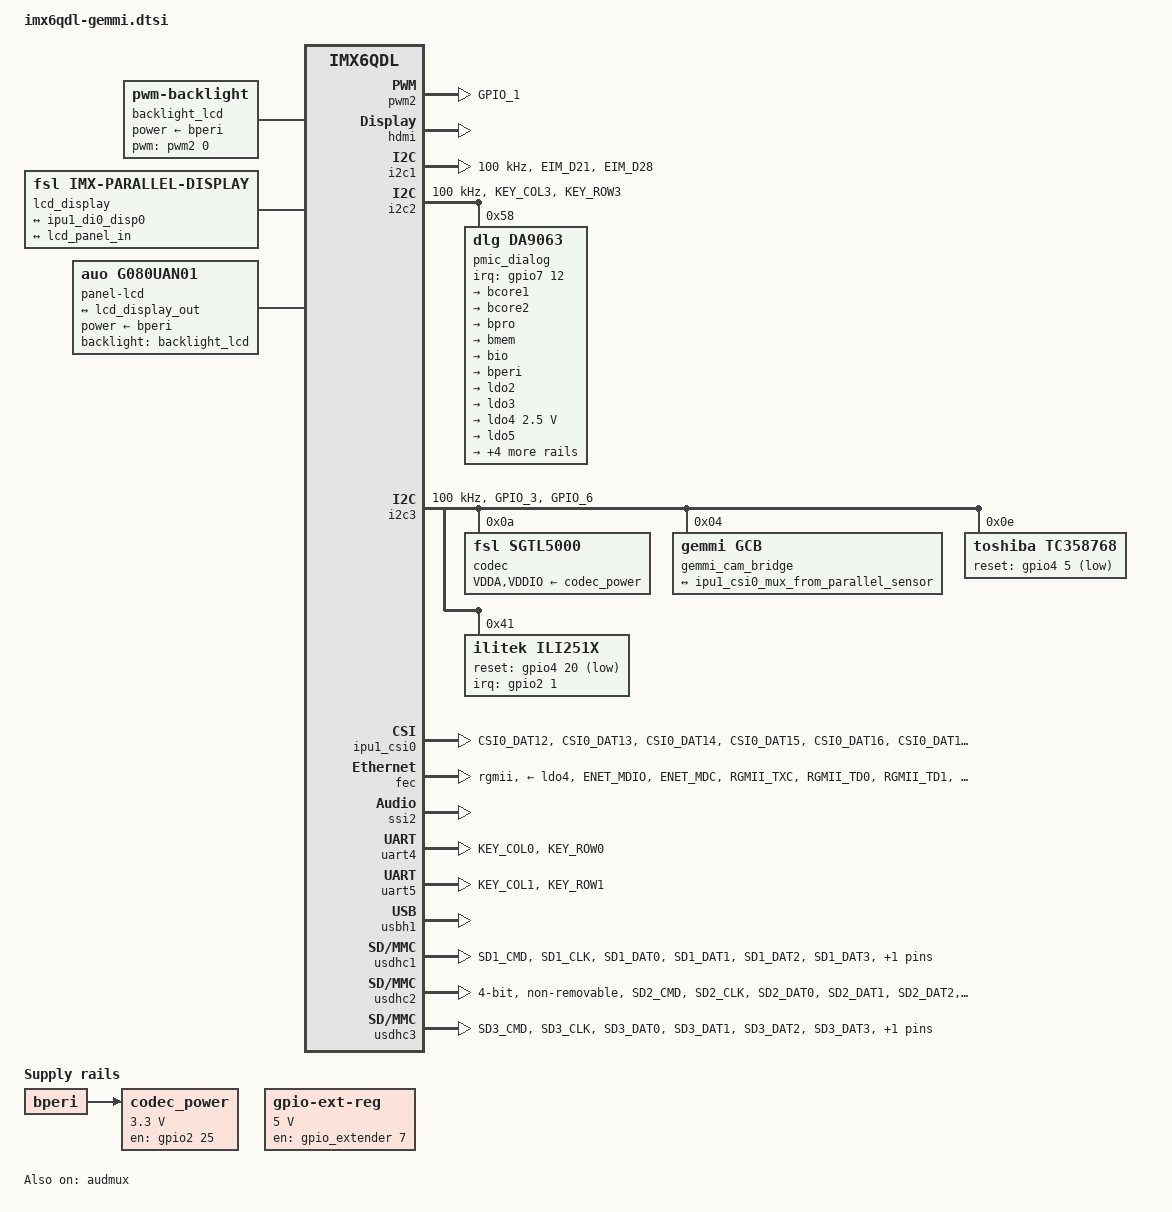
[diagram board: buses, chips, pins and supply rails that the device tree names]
// SPDX-License-Identifier: GPL-2.0
//
// Copyright 2013 Freescale Semiconductor, Inc.
//
// Author: Fabio Estevam <fabio.estevam@freescale.com>

#include <dt-bindings/gpio/gpio.h>

/ {
	5v_reg {
		compatible = "regulator-fixed";
		gpio = <&gpio_extender 7 0>;
		regulator-name = "gpio-ext-reg";
		regulator-always-on;
		enable-active-high;
		regulator-min-microvolt = <5000000>;
		regulator-max-microvolt = <5000000>;
	};
	/* SGTL5000 codec is powered by 3V3 BUCK_PERI, but controlled
	 * by GPIO2_25 via a FET transistor
	 */
	codec_power: fixedregulator@0 {
		compatible = "regulator-fixed";
		regulator-name = "aud_pwr_en";
		regulator-min-microvolt = <3300000>;
		regulator-max-microvolt = <3300000>;
		gpio = <&gpio2 25 GPIO_ACTIVE_HIGH>;
		enable-active-high;
		vin-supply = <&bperi>;
		pinctrl-names = "default";
		pinctrl-0 = <&pinctrl_aud_pwr_en>;
		status = "okay";
		regulator-state-mem {
			regulator-off-in-suspend;
		};
		regulator-state-disk {
			regulator-off-in-suspend;
		};
	};

	chosen {
		stdout-path = &uart4;
	};

	sound {
		compatible = "fsl,imx-audio-sgtl5000";
		model = "sgtl5000-audio";
		ssi-controller = <&ssi2>;
		audio-codec = <&codec>;
		audio-routing =
			"MIC_IN", "Mic Jack",
			"Mic Jack", "Mic Bias",
			"Headphone Jack", "HP_OUT";
		mux-int-port = <1>;
		mux-ext-port = <3>;
	};

	backlight_lcd: backlight-lcd {
		compatible = "pwm-backlight";
		pwms = <&pwm2 0 100000>;
                power-supply = <&bperi>;
		brightness-levels = <0 4 8 16 32 64 128 255>;
		default-brightness-level = <6>;
		status = "okay";
	};


	lcd_display: disp0 {
		compatible = "fsl,imx-parallel-display";
		#address-cells = <1>;
		#size-cells = <0>;
		interface-pix-fmt = "rgb24";
		pinctrl-names = "default";
		pinctrl-0 = <&pinctrl_lcd>;
		status = "okay";

		port@0 {
			reg = <0>;

			lcd_display_in: endpoint {
				remote-endpoint = <&ipu1_di0_disp0>;
			};
		};

		port@1 {
			reg = <1>;

			lcd_display_out: endpoint {
				remote-endpoint = <&lcd_panel_in>;
			};
		};
	};

	panel-lcd {
                compatible = "auo,g080uan01", "simple-panel";
                power-supply = <&bperi>;
                backlight = <&backlight_lcd>;
		status = "okay";

		port {
			lcd_panel_in: endpoint {
				remote-endpoint = <&lcd_display_out>;
			};
		};
	};

};



&audmux {
	pinctrl-names = "default";
	pinctrl-0 = <&pinctrl_audmux>;
	status = "okay";
};


&pwm2 {
        pinctrl-names = "default";
        pinctrl-0 = <&pinctrl_pwm2>;
        status = "okay";
};


&hdmi {
	ddc-i2c-bus = <&i2c3>;
	status = "okay";
};

&i2c1 {
	clock-frequency = <100000>;
	pinctrl-names = "default";
	pinctrl-0 = <&pinctrl_i2c1>;
	status = "okay";
};

&i2c2 {
	clock-frequency = <100000>;
	pinctrl-names = "default";
	pinctrl-0 = <&pinctrl_i2c2>;
	status = "okay";

	pmic_dialog: dialog@58 {
		compatible = "dlg,da9063";
		reg = <0x58>;
		interrupt-parent = <&gpio7>;
		interrupts = <12 2>;
		interrupt-controller;
		#interrupt-cells = <2>;
		pinctrl-names = "default";
		pinctrl-0 = <&pinctrl_pmic_dialog>;

		rtc {
			compatible = "dlg,da9063-rtc";
		};

		onkey {
			compatible = "dlg,da9063-onkey";
			dlg,key-power;
		};

		hwmon {
			compatible = "dlg,da9063-hwmon";
			dlg,tjunc-offset = <(-5)>;
		};

		gpio_extender: gpio {
			compatible = "dlg,da9063-gpio";
			gpio-controller;
			#gpio-cells = <2>;
		};

		regulators {
			compatible = "dlg,da9063-regulator";

			bcore1: bcore1 {
				regulator-name = "DA9063_BCORE1";
				regulator-boot-on;
				regulator-always-on;
			};

			bcore2: bcore2 {
				regulator-name = "DA9063_BCORE2";
				regulator-boot-on;
				regulator-always-on;
			};

			bpro: bpro {
				regulator-name = "DA9063_BPRO";
				regulator-boot-on;
				regulator-state-mem {
					regulator-off-in-suspend;
				};
				regulator-state-disk {
					regulator-off-in-suspend;
				};
			};

			bmem: bmem {
				regulator-name = "DA9063_BMEM";
				regulator-boot-on;
				regulator-always-on;
			};

			bio: bio {
				regulator-name = "DA9063_BIO";
				regulator-boot-on;
			};

			bperi: bperi {
				regulator-name = "DA9063_BPERI";
				regulator-boot-on;
				regulator-always-on;
			};

			ldo2: ldo2 {
				regulator-name = "DA9063_LDO2";
				regulator-state-mem {
					regulator-off-in-suspend;
				};
				regulator-state-disk {
					regulator-off-in-suspend;
				};
			};

			ldo3: ldo3 {
				regulator-name = "DA9063_LDO3";
				regulator-boot-on;
				regulator-always-on;
			};

			ldo4: ldo4 {
				regulator-name = "DA9063_LDO4";
				regulator-min-microvolt = <2500000>;
				regulator-max-microvolt = <2500000>;
				regulator-state-mem {
					regulator-off-in-suspend;
				};
				regulator-state-disk {
					regulator-off-in-suspend;
				};
			};

			ldo5: ldo5 {
				regulator-name = "DA9063_LDO5";
				regulator-boot-on;
				regulator-always-on;
			};

			ldo6: ldo6 {
				regulator-name = "DA9063_LDO6";
				regulator-min-microvolt = <900000>;
				regulator-max-microvolt = <3600000>;
				regulator-state-mem {
					regulator-off-in-suspend;
				};
				regulator-state-disk {
					regulator-off-in-suspend;
				};
			};

			ldo9: ldo9 {
				regulator-name = "DA9063_LDO9";
				regulator-min-microvolt = <950000>;
				regulator-max-microvolt = <3600000>;
				regulator-state-mem {
					regulator-off-in-suspend;
				};
				regulator-state-disk {
					regulator-off-in-suspend;
				};
			};

			ldo10: ldo10 {
				regulator-name = "DA9063_LDO10";
				regulator-min-microvolt = <900000>;
				regulator-max-microvolt = <3600000>;
				regulator-state-mem {
					regulator-off-in-suspend;
				};
				regulator-state-disk {
					regulator-off-in-suspend;
				};
			};

			ldo11: ldo11 {
				regulator-name = "DA9063_LDO11";
				regulator-boot-on;
				regulator-always-on;
			};
		};
	};
};

&i2c3 {
	clock-frequency = <100000>;
	pinctrl-names = "default";
	pinctrl-0 = <&pinctrl_i2c3>;
	status = "okay";

	codec: sgtl5000@a {
		pinctrl-names = "default";
		pinctrl-0 = <&pinctrl_mclk>;
		compatible = "fsl,sgtl5000";
		reg = <0x0a>;
		clocks = <&clks IMX6QDL_CLK_CKO>;
		VDDA-supply = <&codec_power>;
		VDDIO-supply = <&codec_power>;
	        micbias-voltage-m-volts = <2250>;
		lrclk-strength = <3>;
	};

	gemmi_cam_bridge: gcb@4 {
		compatible = "gemmi,gcb";
		reg = <0x04>;
		status = "okay";
		port {
			gcb_to_ipu1_csi0_mux: endpoint {
				remote-endpoint =  <&ipu1_csi0_mux_from_parallel_sensor>;
				bus-width = <8>;
				hsync-active = <1>;
				vsync-active = <1>;
			};
		};
	};

	tc358768: tc358768@e {
			compatible = "toshiba,tc358768";
			reg = <0x0e>;
			data-lines = <24>;
			lanes = <4>;
			reset = <&gpio4 5 1>;
	};

	ili251x: ili251x@41 {
			compatible = "ilitek,ili251x";
			reg = <0x41>;
			interrupt-parent = <&gpio2>;
			interrupts = <1 IRQ_TYPE_EDGE_FALLING>;
			reset-gpios = <&gpio4 20 GPIO_ACTIVE_LOW>;
			touchscreen-size-x = <16384>;
			touchscreen-size-y = <9600>;
	};



};


&ipu1_di0_disp0 {
	remote-endpoint = <&lcd_display_in>;
};

&ipu1_csi0_from_ipu1_csi0_mux {
        bus-width = <8>;
        data-shift = <12>; /* Lines 19:12 used */
        hsync-active = <1>;
        vync-active = <1>;
};

&ipu1_csi0_mux_from_parallel_sensor {
        remote-endpoint = <&gcb_to_ipu1_csi0_mux>;
        bus-width = <8>;
};

&ipu1_csi0 {
         pinctrl-names = "default";
         pinctrl-0 = <&pinctrl_ipu1_csi0>;
};


&fec {
	pinctrl-names = "default";
	pinctrl-0 = <&pinctrl_enet>;
	phy-mode = "rgmii";
	phy-reset-gpios  = <&gpio1 25 GPIO_ACTIVE_LOW>;
	/*interrupts-extended = <&gpio1 6 IRQ_TYPE_LEVEL_HIGH>,
		              <&intc 0 119 IRQ_TYPE_LEVEL_HIGH>;
			      */

	//phy-reset-duration = <10>;
	//phy-reset-wait = <1>;
	phy-supply = <&ldo4>;
	//fsl,err006687-workaround-present;
	fsl,magic-packet;
	status = "okay";
};


&ssi2 {
	status = "okay";
};

&uart4 {
        pinctrl-names = "default";
        pinctrl-0 = <&pinctrl_uart4>;
	status = "okay";
};

&uart5 {
        pinctrl-names = "default";
        pinctrl-0 = <&pinctrl_uart5>;
	status = "okay";
};

&usbh1 {
	status = "okay";
};

&usdhc1 {
	pinctrl-names = "default";
	pinctrl-0 = <&pinctrl_usdhc1>;
	cd-gpios = <&gpio1 2 GPIO_ACTIVE_LOW>;
	status = "okay";
};

&usdhc2 {
	pinctrl-names = "default";
	pinctrl-0 = <&pinctrl_usdhc2>;
	bus-width = <4>;
	no-1-8-v;
	non-removable;
	status = "okay";
};

&usdhc3 {
	pinctrl-names = "default";
	pinctrl-0 = <&pinctrl_usdhc3>;
	cd-gpios = <&gpio3 9 GPIO_ACTIVE_LOW>;
	status = "okay";
};

&hdmi {
	ddc-i2c-bus = <&i2c2>;
	status = "okay";
};


&iomuxc {
	pinctrl-names = "default";
	pinctrl-0 = <&pinctrl_hog>;

	imx6qdl-gemmi {
		pinctrl_hog: hoggrp {
			fsl,pins = <
				MX6QDL_PAD_EIM_D22__USB_OTG_PWR		0x80000000	/* USB Power Enable */
				MX6QDL_PAD_GPIO_2__GPIO1_IO02		0x80000000	/* USDHC1 CD */
				MX6QDL_PAD_EIM_DA9__GPIO3_IO09		0x80000000	/* uSDHC3 CD */
				MX6QDL_PAD_EIM_D29__GPIO3_IO29   	0x1f0b1		/* RGMII PHY reset */

				/* TC358768 reset */
				MX6QDL_PAD_GPIO_19__GPIO4_IO05 0x80000000
			>;
		};

		pinctrl_pwm2: pwm2grp {
			fsl,pins = <
				MX6QDL_PAD_GPIO_1__PWM2_OUT 0x1b0b1
			>;
		};


		pinctrl_enet: enetgrp {
			fsl,pins = <
				MX6QDL_PAD_ENET_MDIO__ENET_MDIO		0x1b0b0
				MX6QDL_PAD_ENET_MDC__ENET_MDC		0x1b0b0
				MX6QDL_PAD_RGMII_TXC__RGMII_TXC		0x1b030
				MX6QDL_PAD_RGMII_TD0__RGMII_TD0		0x1b030
				MX6QDL_PAD_RGMII_TD1__RGMII_TD1		0x1b030
				MX6QDL_PAD_RGMII_TD2__RGMII_TD2		0x1b030
				MX6QDL_PAD_RGMII_TD3__RGMII_TD3		0x1b030
				MX6QDL_PAD_RGMII_TX_CTL__RGMII_TX_CTL	0x1b030
				MX6QDL_PAD_ENET_REF_CLK__ENET_TX_CLK	0x1b0b0
				MX6QDL_PAD_RGMII_RXC__RGMII_RXC		0x1b030
				MX6QDL_PAD_RGMII_RD0__RGMII_RD0		0x1b030
				MX6QDL_PAD_RGMII_RD1__RGMII_RD1		0x1b030
				MX6QDL_PAD_RGMII_RD2__RGMII_RD2		0x1b030
				MX6QDL_PAD_RGMII_RD3__RGMII_RD3		0x1b030
				MX6QDL_PAD_RGMII_RX_CTL__RGMII_RX_CTL	0x1b030
				/* Phy reset */
				MX6QDL_PAD_ENET_CRS_DV__GPIO1_IO25    0x0f0b0
                                /* Phy interrupt */
				MX6QDL_PAD_ENET_TX_EN__GPIO1_IO28     0x1b0b0
				/*MX6QDL_PAD_GPIO_6__ENET_IRQ           0x000b1*/
			>;
		};

		pinctrl_lcd: lcdgrp {
			fsl,pins = <
				/* DISP0_CLK */
				MX6QDL_PAD_DI0_DISP_CLK__IPU1_DI0_DISP_CLK 0xa0
				/* DISP0_DRDY */
				MX6QDL_PAD_DI0_PIN15__IPU1_DI0_PIN15       0xa0
				/* DISP0 VSYNC */
				MX6QDL_PAD_DI0_PIN3__IPU1_DI0_PIN03        0xa0
				/* DISP0 HSYNC */
				MX6QDL_PAD_DI0_PIN2__IPU1_DI0_PIN02        0xa0
				/* Data bus */
				MX6QDL_PAD_DISP0_DAT0__IPU1_DISP0_DATA00   0xa0
				MX6QDL_PAD_DISP0_DAT1__IPU1_DISP0_DATA01   0xa0
				MX6QDL_PAD_DISP0_DAT2__IPU1_DISP0_DATA02   0xa0
				MX6QDL_PAD_DISP0_DAT3__IPU1_DISP0_DATA03   0xa0
				MX6QDL_PAD_DISP0_DAT4__IPU1_DISP0_DATA04   0xa0
				MX6QDL_PAD_DISP0_DAT5__IPU1_DISP0_DATA05   0xa0
				MX6QDL_PAD_DISP0_DAT6__IPU1_DISP0_DATA06   0xa0
				MX6QDL_PAD_DISP0_DAT7__IPU1_DISP0_DATA07   0xa0
				MX6QDL_PAD_DISP0_DAT8__IPU1_DISP0_DATA08   0xa0
				MX6QDL_PAD_DISP0_DAT9__IPU1_DISP0_DATA09   0xa0
				MX6QDL_PAD_DISP0_DAT10__IPU1_DISP0_DATA10  0xa0
				MX6QDL_PAD_DISP0_DAT11__IPU1_DISP0_DATA11  0xa0
				MX6QDL_PAD_DISP0_DAT12__IPU1_DISP0_DATA12  0xa0
				MX6QDL_PAD_DISP0_DAT13__IPU1_DISP0_DATA13  0xa0
				MX6QDL_PAD_DISP0_DAT14__IPU1_DISP0_DATA14  0xa0
				MX6QDL_PAD_DISP0_DAT15__IPU1_DISP0_DATA15  0xa0
				MX6QDL_PAD_DISP0_DAT16__IPU1_DISP0_DATA16  0xa0
				MX6QDL_PAD_DISP0_DAT17__IPU1_DISP0_DATA17  0xa0
				MX6QDL_PAD_DISP0_DAT18__IPU1_DISP0_DATA18  0xa0
				MX6QDL_PAD_DISP0_DAT19__IPU1_DISP0_DATA19  0xa0
				MX6QDL_PAD_DISP0_DAT20__IPU1_DISP0_DATA20  0xa0
				MX6QDL_PAD_DISP0_DAT21__IPU1_DISP0_DATA21  0xa0
				MX6QDL_PAD_DISP0_DAT22__IPU1_DISP0_DATA22  0xa0
				MX6QDL_PAD_DISP0_DAT23__IPU1_DISP0_DATA23  0xa0
			>;
		};

		pinctrl_ipu1_csi0: ipu1csi0grp {
			fsl,pins = <
				MX6QDL_PAD_CSI0_DAT12__IPU1_CSI0_DATA12    0x1b0b0
				MX6QDL_PAD_CSI0_DAT13__IPU1_CSI0_DATA13    0x1b0b0
				MX6QDL_PAD_CSI0_DAT14__IPU1_CSI0_DATA14    0x1b0b0
				MX6QDL_PAD_CSI0_DAT15__IPU1_CSI0_DATA15    0x1b0b0
				MX6QDL_PAD_CSI0_DAT16__IPU1_CSI0_DATA16    0x1b0b0
				MX6QDL_PAD_CSI0_DAT17__IPU1_CSI0_DATA17    0x1b0b0
				MX6QDL_PAD_CSI0_DAT18__IPU1_CSI0_DATA18    0x1b0b0
				MX6QDL_PAD_CSI0_DAT19__IPU1_CSI0_DATA19    0x1b0b0
				MX6QDL_PAD_CSI0_PIXCLK__IPU1_CSI0_PIXCLK   0x1b0b0
				MX6QDL_PAD_CSI0_MCLK__IPU1_CSI0_HSYNC      0x1b0b0
				MX6QDL_PAD_CSI0_VSYNC__IPU1_CSI0_VSYNC     0x1b0b0
			>;
		};



		pinctrl_audmux: audmuxgrp {
			fsl,pins = <
				MX6QDL_PAD_CSI0_DAT7__AUD3_RXD		0x130b0
				MX6QDL_PAD_CSI0_DAT4__AUD3_TXC		0x130b0
				MX6QDL_PAD_CSI0_DAT5__AUD3_TXD		0x110b0
				MX6QDL_PAD_CSI0_DAT6__AUD3_TXFS		0x130b0
			>;
		};

		pinctrl_aud_pwr_en: aud_pwr_en {
			fsl,pins = <
				MX6QDL_PAD_EIM_OE__GPIO2_IO25 0x80000000
			>;
		};


		pinctrl_i2c1: i2c1grp {
			fsl,pins = <
				MX6QDL_PAD_EIM_D21__I2C1_SCL		0x4001b8b1
				MX6QDL_PAD_EIM_D28__I2C1_SDA		0x4001b8b1
			>;
		};

		pinctrl_i2c2: i2c2grp {
			fsl,pins = <
				MX6QDL_PAD_KEY_COL3__I2C2_SCL		0x4001b8b1
				MX6QDL_PAD_KEY_ROW3__I2C2_SDA		0x4001b8b1
			>;
		};

		pinctrl_i2c3: i2c3grp {
			fsl,pins = <
				MX6QDL_PAD_GPIO_3__I2C3_SCL		0x4001b8b1
				MX6QDL_PAD_GPIO_6__I2C3_SDA		0x4001b8b1
				/*MX6QDL_PAD_GPIO_16__I2C3_SDA		0x4001b8b1*/
			>;
		};

		pinctrl_mclk: mclkgrp {
			fsl,pins = <
				MX6QDL_PAD_GPIO_0__CCM_CLKO1		0x130b0
			>;
		};

		pinctrl_uart4: uart4grp {
			fsl,pins = <
				MX6QDL_PAD_KEY_COL0__UART4_TX_DATA	0x1b0b1
				MX6QDL_PAD_KEY_ROW0__UART4_RX_DATA	0x1b0b1
			>;
		};

		pinctrl_uart5: uart5grp {
			fsl,pins = <
				MX6QDL_PAD_KEY_COL1__UART5_TX_DATA	0x1b0b1
				MX6QDL_PAD_KEY_ROW1__UART5_RX_DATA	0x1b0b1
			>;
		};

		pinctrl_usdhc1: usdhc1grp {
			fsl,pins = <
				MX6QDL_PAD_SD1_CMD__SD1_CMD		0x17071
				MX6QDL_PAD_SD1_CLK__SD1_CLK		0x10071
				MX6QDL_PAD_SD1_DAT0__SD1_DATA0		0x17071
				MX6QDL_PAD_SD1_DAT1__SD1_DATA1		0x17071
				MX6QDL_PAD_SD1_DAT2__SD1_DATA2		0x17071
				MX6QDL_PAD_SD1_DAT3__SD1_DATA3		0x17071
			>;
		};

		pinctrl_usdhc2: usdhc2grp {
			fsl,pins = <
				MX6QDL_PAD_SD2_CMD__SD2_CMD		0x17059
				MX6QDL_PAD_SD2_CLK__SD2_CLK		0x10059
				MX6QDL_PAD_SD2_DAT0__SD2_DATA0		0x17059
				MX6QDL_PAD_SD2_DAT1__SD2_DATA1		0x17059
				MX6QDL_PAD_SD2_DAT2__SD2_DATA2		0x17059
				MX6QDL_PAD_SD2_DAT3__SD2_DATA3		0x17059
			>;
		};

		pinctrl_usdhc3: usdhc3grp {
			fsl,pins = <
				MX6QDL_PAD_SD3_CMD__SD3_CMD		0x17059
				MX6QDL_PAD_SD3_CLK__SD3_CLK		0x10059
				MX6QDL_PAD_SD3_DAT0__SD3_DATA0		0x17059
				MX6QDL_PAD_SD3_DAT1__SD3_DATA1		0x17059
				MX6QDL_PAD_SD3_DAT2__SD3_DATA2		0x17059
				MX6QDL_PAD_SD3_DAT3__SD3_DATA3		0x17059
			>;
		};


		pinctrl_pmic_dialog: pmic_dialoggrp {
			fsl,pins = <
				MX6QDL_PAD_GPIO_17__GPIO7_IO12 0x1b0b0
			>;
		};

	};
};

